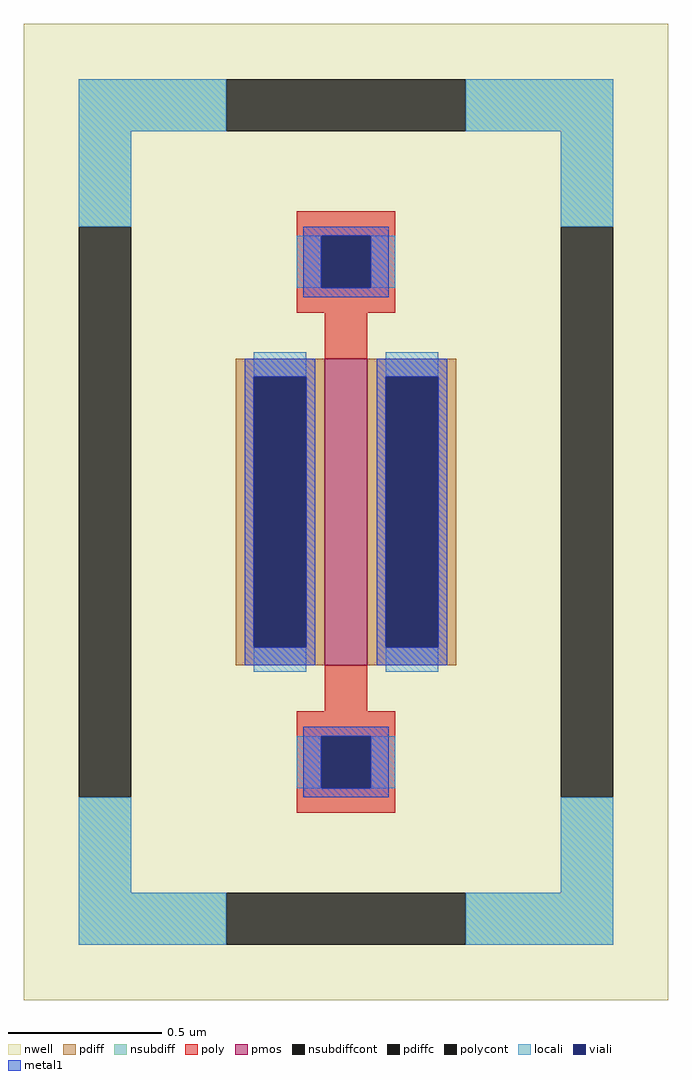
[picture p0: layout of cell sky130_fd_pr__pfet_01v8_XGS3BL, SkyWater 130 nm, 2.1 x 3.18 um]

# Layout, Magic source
magic
tech sky130A
<< nwell >>
rect -105 -159 105 159
<< pmos >>
rect -7 -50 7 50
<< pdiff >>
rect -36 44 -7 50
rect -36 -44 -30 44
rect -13 -44 -7 44
rect -36 -50 -7 -44
rect 7 44 36 50
rect 7 -44 13 44
rect 30 -44 36 44
rect 7 -50 36 -44
<< pdiffc >>
rect -30 -44 -13 44
rect 13 -44 30 44
<< nsubdiff >>
rect -87 124 -39 141
rect 39 124 87 141
rect -87 93 -70 124
rect 70 93 87 124
rect -87 -124 -70 -93
rect 70 -124 87 -93
rect -87 -141 -39 -124
rect 39 -141 87 -124
<< nsubdiffcont >>
rect -39 124 39 141
rect -87 -93 -70 93
rect 70 -93 87 93
rect -39 -141 39 -124
<< poly >>
rect -16 90 16 98
rect -16 73 -8 90
rect 8 73 16 90
rect -16 65 16 73
rect -7 50 7 65
rect -7 -65 7 -50
rect -16 -73 16 -65
rect -16 -90 -8 -73
rect 8 -90 16 -73
rect -16 -98 16 -90
<< polycont >>
rect -8 73 8 90
rect -8 -90 8 -73
<< locali >>
rect -87 124 -39 141
rect 39 124 87 141
rect -87 93 -70 124
rect 70 93 87 124
rect -16 73 -8 90
rect 8 73 16 90
rect -30 44 -13 52
rect -30 -52 -13 -44
rect 13 44 30 52
rect 13 -52 30 -44
rect -16 -90 -8 -73
rect 8 -90 16 -73
rect -87 -124 -70 -93
rect 70 -124 87 -93
rect -87 -141 -39 -124
rect 39 -141 87 -124
<< viali >>
rect -8 73 8 90
rect -30 -44 -13 44
rect 13 -44 30 44
rect -8 -90 8 -73
<< metal1 >>
rect -14 90 14 93
rect -14 73 -8 90
rect 8 73 14 90
rect -14 70 14 73
rect -33 44 -10 50
rect -33 -44 -30 44
rect -13 -44 -10 44
rect -33 -50 -10 -44
rect 10 44 33 50
rect 10 -44 13 44
rect 30 -44 33 44
rect 10 -50 33 -44
rect -14 -73 14 -70
rect -14 -90 -8 -73
rect 8 -90 14 -73
rect -14 -93 14 -90
<< properties >>
string FIXED_BBOX -79 -133 79 133
string gencell sky130_fd_pr__pfet_01v8
string library sky130
string parameters w 1.0 l 0.15 m 1 nf 1 diffcov 100 polycov 100 guard 1 glc 1 grc 1 gtc 1 gbc 1 tbcov 100 rlcov 100 topc 1 botc 1 poverlap 0 doverlap 1 lmin 0.15 wmin 0.42 compatible {sky130_fd_pr__pfet_01v8  sky130_fd_pr__pfet_01v8_lvt sky130_fd_pr__pfet_01v8_hvt  sky130_fd_pr__pfet_g5v0d10v5} full_metal 1 viasrc 100 viadrn 100 viagate 100 viagb 0 viagr 0 viagl 0 viagt 0
<< end >>
